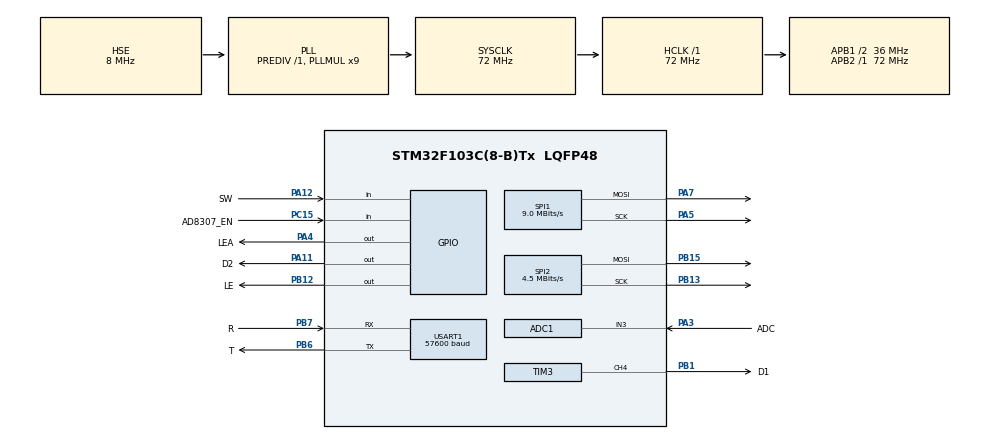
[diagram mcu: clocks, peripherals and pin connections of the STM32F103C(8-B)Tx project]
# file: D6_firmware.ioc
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ADC1.Channel-7\#ChannelRegularConversion=ADC_CHANNEL_3
ADC1.ContinuousConvMode=ENABLE
ADC1.DataAlign=ADC_DATAALIGN_RIGHT
ADC1.DiscontinuousConvMode=DISABLE
ADC1.EnableAnalogWatchDog=false
ADC1.EnableRegularConversion=ENABLE
ADC1.ExternalTrigConv=ADC_SOFTWARE_START
ADC1.InjNumberOfConversion=0
ADC1.NbrOfConversion=1
ADC1.NbrOfConversionFlag=1
ADC1.Rank-7\#ChannelRegularConversion=1
ADC1.SamplingTime-7\#ChannelRegularConversion=ADC_SAMPLETIME_239CYCLES_5
ADC1.ScanConvMode=ADC_SCAN_DISABLE
ADC1.master=1
Dma.Request0=USART1_RX
Dma.USART1_RX.0.Direction=DMA_PERIPH_TO_MEMORY
Dma.USART1_RX.0.Instance=DMA1_Channel5
Dma.USART1_RX.0.MemDataAlignment=DMA_MDATAALIGN_BYTE
Dma.USART1_RX.0.MemInc=DMA_MINC_ENABLE
Dma.USART1_RX.0.Mode=DMA_CIRCULAR
Dma.USART1_RX.0.PeriphDataAlignment=DMA_PDATAALIGN_BYTE
Dma.USART1_RX.0.PeriphInc=DMA_PINC_DISABLE
Dma.USART1_RX.0.Priority=DMA_PRIORITY_LOW
Mcu.Family=STM32F1
Mcu.Name=STM32F103C(8-B)Tx
Mcu.Package=LQFP48
NVIC.ADC1_2_IRQn=true\:0\:0\:false\:false\:true\:true\:true
NVIC.DMA1_Channel5_IRQn=true\:0\:0\:false\:false\:true\:false\:true
NVIC.PriorityGroup=NVIC_PRIORITYGROUP_4
NVIC.USART1_IRQn=true\:0\:0\:false\:false\:true\:true\:true
PA11.GPIO_Label=D2
PA11.Signal=GPIO_Output
PA12.GPIO_Label=SW
PA12.Signal=GPIO_Input
PA13.Mode=Serial_Wire
PA13.Signal=SYS_JTMS-SWDIO
PA14.Mode=Serial_Wire
PA14.Signal=SYS_JTCK-SWCLK
PA3.GPIO_Label=ADC
PA3.Signal=ADCx_IN3
PA4.GPIO_Label=LEA
PA4.Signal=GPIO_Output
PA5.Mode=TX_Only_Simplex_Unidirect_Master
PA5.Signal=SPI1_SCK
PA7.Mode=TX_Only_Simplex_Unidirect_Master
PA7.Signal=SPI1_MOSI
PB1.GPIO_Label=D1
PB1.Signal=S_TIM3_CH4
PB12.GPIO_Label=LE
PB12.Signal=GPIO_Output
PB13.Mode=TX_Only_Simplex_Unidirect_Master
PB13.Signal=SPI2_SCK
PB15.Mode=TX_Only_Simplex_Unidirect_Master
PB15.Signal=SPI2_MOSI
PB6.GPIO_Label=T
PB6.Mode=Asynchronous
PB6.Signal=USART1_TX
PB7.GPIO_Label=R
PB7.Mode=Asynchronous
PB7.Signal=USART1_RX
PC15-OSC32_OUT.GPIO_Label=AD8307_EN
PC15-OSC32_OUT.GPIO_PuPd=GPIO_PULLUP
PC15-OSC32_OUT.Signal=GPIO_Input
PD0-OSC_IN.Mode=HSE-External-Oscillator
PD0-OSC_IN.Signal=RCC_OSC_IN
PD1-OSC_OUT.Mode=HSE-External-Oscillator
PD1-OSC_OUT.Signal=RCC_OSC_OUT
ProjectManager.HeapSize=0x200
ProjectManager.StackSize=0x400
ProjectManager.TargetToolchain=TrueSTUDIO
RCC.ADCPresc=RCC_ADCPCLK2_DIV6
RCC.AHBFreq_Value=72000000
RCC.APB1CLKDivider=RCC_HCLK_DIV2
RCC.APB1Freq_Value=36000000
RCC.APB1TimFreq_Value=72000000
RCC.APB2Freq_Value=72000000
RCC.APB2TimFreq_Value=72000000
RCC.HCLKFreq_Value=72000000
RCC.PLLMUL=RCC_PLL_MUL9
RCC.PLLSourceVirtual=RCC_PLLSOURCE_HSE
RCC.SYSCLKFreq_VALUE=72000000
RCC.SYSCLKSource=RCC_SYSCLKSOURCE_PLLCLK
RCC.USBFreq_Value=72000000
SH.ADCx_IN3.0=ADC2_IN3
SH.ADCx_IN3.1=ADC1_IN3,IN3
SH.S_TIM3_CH4.0=TIM3_CH4,PWM Generation4 CH4
SPI1.BaudRatePrescaler=SPI_BAUDRATEPRESCALER_8
SPI1.CRCCalculation=SPI_CRCCALCULATION_DISABLE
SPI1.CalculateBaudRate=9.0 MBits/s
SPI1.Direction=SPI_DIRECTION_2LINES
SPI1.Mode=SPI_MODE_MASTER
SPI1.VirtualType=VM_MASTER
SPI2.BaudRatePrescaler=SPI_BAUDRATEPRESCALER_8
SPI2.CalculateBaudRate=4.5 MBits/s
SPI2.Direction=SPI_DIRECTION_2LINES
SPI2.Mode=SPI_MODE_MASTER
SPI2.VirtualType=VM_MASTER
TIM3.AutoReloadPreload=TIM_AUTORELOAD_PRELOAD_DISABLE
TIM3.Channel-PWM\ Generation4\ CH4=TIM_CHANNEL_4
TIM3.OCPolarity_4=TIM_OCPOLARITY_HIGH
TIM3.Period=2000
TIM3.Prescaler=18000
TIM3.Pulse-PWM\ Generation4\ CH4=1000
USART1.BaudRate=57600
USART1.VirtualMode=VM_ASYNC
VP_TIM3_VS_ClockSourceINT.Mode=Internal
board=D6_firmware

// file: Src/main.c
/* USER CODE BEGIN Header */
/* Copyright (C)
 *		2019 Jose Luu
 * additional authors:
 *
 * This program is free software: you can redistribute it and/or modify
 * it under the terms of the GNU General Public License as published by
 * the Free Software Foundation, version 3.
 *
 * This program is distributed in the hope that it will be useful, but
 * WITHOUT ANY WARRANTY; without even the implied warranty of
 * MERCHANTABILITY or FITNESS FOR A PARTICULAR PURPOSE. See the GNU
 * General Public License for more details.
 *
 * You should have received a copy of the GNU General Public License
 * along with this program. If not, see <http://www.gnu.org/licenses/>.
 */
/* USER CODE END Header */

#include "main.h"
#include "adc.h"
#include "dma.h"
#include "spi.h"
#include "tim.h"
#include "usart.h"
#include "gpio.h"

/* USER CODE BEGIN Includes */
#include "D6Board.h"
#include "Loop.h"
#include "eeprom.h"
/* USER CODE END Includes */

/* USER CODE BEGIN PV */
/* Private variables ---------------------------------------------------------*/
uint16_t VirtAddVarTab[NB_OF_VAR] = { 0x5555, 0x6666, 0x7777 };
uint16_t VarDataTab[NB_OF_VAR] = { 0, 0, 0 };
/* USER CODE END PV */

void SystemClock_Config(void);
/* USER CODE BEGIN PFP */
/* Private function prototypes -----------------------------------------------*/

/* USER CODE END PFP */

/* USER CODE BEGIN 0 */
// precise timing functions
#define SLOTS 4
static volatile uint32_t start[4];

void start_us_DWT(int slot)
{
	if (slot < SLOTS) {
		start[slot] = DWT->CYCCNT;
	}
}

unsigned int get_us_DWT(int slot)
{
	if (slot < SLOTS) {
		unsigned long long val;
		if (DWT->CYCCNT < start[slot]) {
			val = (DWT->CYCCNT - start[slot]) + (1LL << 32);
		} else {
			val = (DWT->CYCCNT - start[slot]);
		}
		return val * 1000000L / SystemCoreClock;
	}
	return 0xFFFFFFFF;
}

void delay_us_DWT(unsigned long uSec)
{
	volatile uint32_t cycles = (SystemCoreClock / 1000000L)*uSec;
	volatile uint32_t start = DWT->CYCCNT;
	do {
	} while (DWT->CYCCNT - start < cycles);
}

/* USER CODE END 0 */

int main(void)
{

  /* MCU Configuration--------------------------------------------------------*/

  /* Reset of all peripherals, Initializes the Flash interface and the Systick. */
  HAL_Init();

  /* USER CODE BEGIN Init */
	CoreDebug->DEMCR |= CoreDebug_DEMCR_TRCENA_Msk;
	DWT->CYCCNT = 0;
  // Enable hi resolution counter
	DWT->CTRL &= ~0x00000001;
	DWT->CTRL |= 0x00000001;
  /* USER CODE END Init */

  /* Configure the system clock */
  SystemClock_Config();

  /* USER CODE BEGIN SysInit */
    /* Unlock the Flash Program Erase controller */
	HAL_FLASH_Unlock();
	/* EEPROM Init */
	EE_Init();
  /* USER CODE END SysInit */

  /* Initialize all configured peripherals */
  MX_GPIO_Init();
  MX_DMA_Init();
  MX_USART1_UART_Init();
  MX_SPI1_Init();
  MX_SPI2_Init();
  MX_ADC1_Init();
  MX_TIM3_Init();
  /* USER CODE BEGIN 2 */
	initializeListener();
	blinkD1(true);
  /* USER CODE END 2 */

  /* Infinite loop */
  while (1)
  {

    /* USER CODE BEGIN 3 */
	  doListen();
  }
  /* USER CODE END 3 */
}

void SystemClock_Config(void)
{
  RCC_OscInitTypeDef RCC_OscInitStruct = {0};
  RCC_ClkInitTypeDef RCC_ClkInitStruct = {0};
  RCC_PeriphCLKInitTypeDef PeriphClkInit = {0};

  /** Initializes the CPU, AHB and APB busses clocks
  */
  RCC_OscInitStruct.OscillatorType = RCC_OSCILLATORTYPE_HSE;
  RCC_OscInitStruct.HSEState = RCC_HSE_ON;
  RCC_OscInitStruct.HSEPredivValue = RCC_HSE_PREDIV_DIV1;
  RCC_OscInitStruct.HSIState = RCC_HSI_ON;
  RCC_OscInitStruct.PLL.PLLState = RCC_PLL_ON;
  RCC_OscInitStruct.PLL.PLLSource = RCC_PLLSOURCE_HSE;
  RCC_OscInitStruct.PLL.PLLMUL = RCC_PLL_MUL9;
  if (HAL_RCC_OscConfig(&RCC_OscInitStruct) != HAL_OK)
  {
    Error_Handler();
  }
  /** Initializes the CPU, AHB and APB busses clocks
  */
  RCC_ClkInitStruct.ClockType = RCC_CLOCKTYPE_HCLK|RCC_CLOCKTYPE_SYSCLK
                              |RCC_CLOCKTYPE_PCLK1|RCC_CLOCKTYPE_PCLK2;
  RCC_ClkInitStruct.SYSCLKSource = RCC_SYSCLKSOURCE_PLLCLK;
  RCC_ClkInitStruct.AHBCLKDivider = RCC_SYSCLK_DIV1;
  RCC_ClkInitStruct.APB1CLKDivider = RCC_HCLK_DIV2;
  RCC_ClkInitStruct.APB2CLKDivider = RCC_HCLK_DIV1;

  if (HAL_RCC_ClockConfig(&RCC_ClkInitStruct, FLASH_LATENCY_2) != HAL_OK)
  {
    Error_Handler();
  }
  PeriphClkInit.PeriphClockSelection = RCC_PERIPHCLK_ADC;
  PeriphClkInit.AdcClockSelection = RCC_ADCPCLK2_DIV6;
  if (HAL_RCCEx_PeriphCLKConfig(&PeriphClkInit) != HAL_OK)
  {
    Error_Handler();
  }
}

/* USER CODE BEGIN 4 */

void EEProm_Store(unsigned long val, unsigned short address)
{
	unsigned short varShort[2];

	varShort[0] = val & 0xFFFF;
	varShort[1] = val >> 16;
	EE_WriteVariable(address * 2, varShort[0]);
	EE_WriteVariable(address * 2 + 1, varShort[1]);

}

unsigned long EEProm_Read(unsigned short address)
{
	unsigned short varShort[2];
	unsigned long value;

	EE_ReadVariable(address * 2, &varShort[0]);
	EE_ReadVariable(address * 2 + 1, &varShort[1]);
	value = (unsigned long)varShort[1] << 16 | varShort[0];
	return value;
}

/* USER CODE END 4 */

void Error_Handler(void)
{
  /* USER CODE BEGIN Error_Handler_Debug */
  /* User can add his own implementation to report the HAL error return state */
	ledD2(true);
  while(1)
  {
  }
  /* USER CODE END Error_Handler_Debug */
}

/************************ (C) COPYRIGHT STMicroelectronics *****END OF FILE****/
